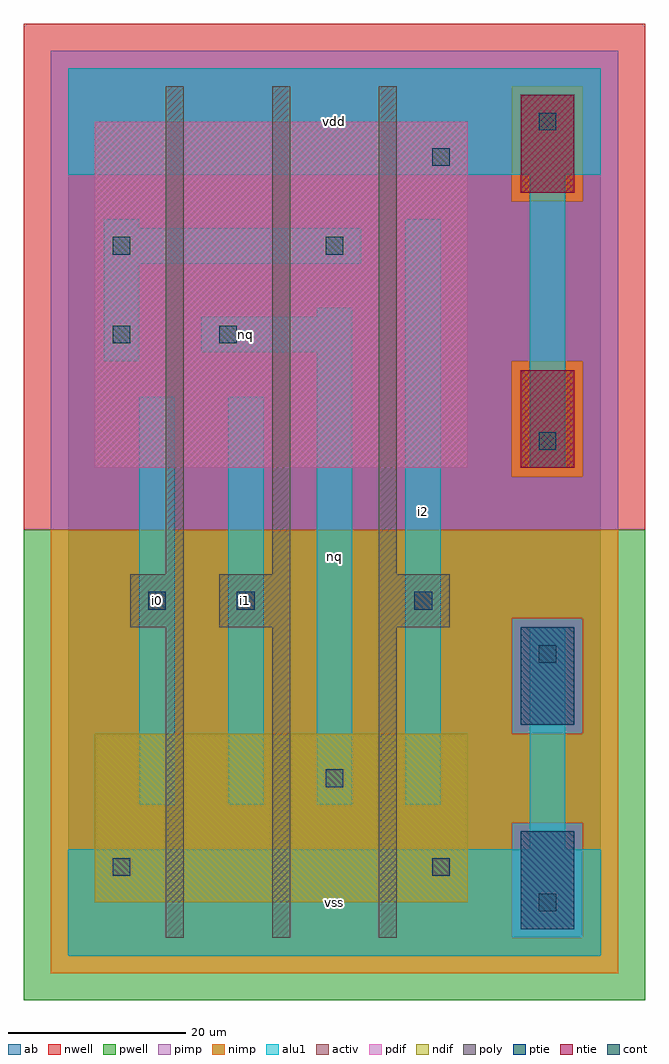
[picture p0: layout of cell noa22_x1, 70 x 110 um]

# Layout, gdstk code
import gdstk
lib = gdstk.Library(unit=1e-6, precision=1e-09)
def R(c, l, rs):  # rectangles x0, y0, x1, y1
    for r in rs: c.add(gdstk.rectangle(r[:2], r[2:], *l))
def A(c, l, x, y, w, h, nx, ny, dx, dy):  # array of equal rectangles
    R(c, l, [(x+i*dx, y+j*dy, x+i*dx+w, y+j*dy+h) for i in range(nx) for j in range(ny)])
ndif = (3, 0)
pdif = (4, 0)
ntie = (5, 0)
ptie = (6, 0)
cont = (25, 0)
pwell = (41, 0)
nwell = (42, 0)
activ = (43, 0)
pimp = (44, 0)
nimp = (45, 0)
poly = (46, 0)
alu1 = (49, 0)
ab = (63, 0)

noa22_x1 = lib.new_cell('noa22_x1')
R(noa22_x1, ndif, [(3,6,45,25)])
R(noa22_x1, pdif, [(3,55,45,94)])
R(noa22_x1, ntie, [(51,55,57,66), (51,86,57,97)])
R(noa22_x1, ptie, [(51,3,57,14), (51,26,57,37)])
R(noa22_x1, cont, [(53,5,55,7), (5,9,7,11), (41,9,43,11), (29,19,31,21), (53,33,55,35), (9,39,11,41), (19,39,21,41), (39,39,41,41), (53,57,55,59), (5,69,7,71), (17,69,19,71), (5,79,7,81), (29,79,31,81), (41,89,43,91), (53,93,55,95)])
R(noa22_x1, pwell, [(-5,-5,65,48)])
R(noa22_x1, nwell, [(-5,48,65,105)])
R(noa22_x1, activ, [(51,3,57,14), (3,6,45,25), (51,26,57,37), (3,55,45,94), (51,55,57,66), (51,86,57,97)])
R(noa22_x1, pimp, [(50,2,58,15), (50,25,58,38), (-2,48,62,54), (-2,54,50,67), (58,54,62,67), (-2,67,62,85), (-2,85,50,98), (58,85,62,98), (-2,98,62,102)])
R(noa22_x1, nimp, [(-2,-2,62,2), (-2,2,50,15), (58,2,62,15), (-2,15,62,25), (-2,25,50,38), (58,25,62,38), (-2,38,62,48), (50,54,58,67), (50,85,58,98)])
A(noa22_x1, poly, 11, 2, 2, 35, 3, 1, 12, 0)
A(noa22_x1, poly, 11, 43, 2, 55, 3, 1, 12, 0)
R(noa22_x1, poly, [(7,37,13,43), (17,37,25,43), (35,37,43,43)])
R(noa22_x1, alu1, [(0,0,60,12), (52,12,56,37), (8,17,12,63), (18,17,22,63), (28,17,32,68), (38,17,42,83), (52,55,56,88), (4,67,8,78), (15,68,32,72), (28,72,32,73), (4,78,33,82), (4,82,8,83), (0,88,60,100)])
R(noa22_x1, ab, [(0,0,60,100)])
noa22_x1.add(gdstk.Label('i0', (10,40), layer=49, texttype=0))
noa22_x1.add(gdstk.Label('i1', (20,40), layer=49, texttype=0))
noa22_x1.add(gdstk.Label('nq', (20,70), layer=49, texttype=0))
noa22_x1.add(gdstk.Label('vss', (30,6), layer=49, texttype=0))
noa22_x1.add(gdstk.Label('nq', (30,45), layer=49, texttype=0))
noa22_x1.add(gdstk.Label('i2', (40,50), layer=49, texttype=0))
noa22_x1.add(gdstk.Label('vdd', (30,94), layer=49, texttype=0))

lib.write_gds('noa22_x1.gds')
